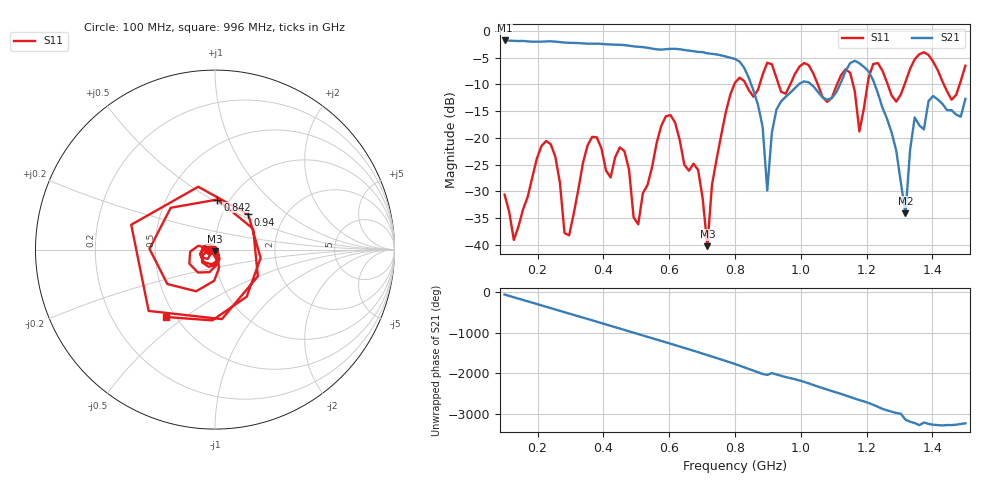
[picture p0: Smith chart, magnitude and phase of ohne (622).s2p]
! NanoVNA-App
! Date: 2025-09-25 14:25:38
! Start: 100MHz Stop: 1,5GHz Points: 101
! S-Parameter data: F S11 S21 S12 S22
# Hz S RI R 50
!  Frequency  S11_Real  S11_Imag  S21_Real  S21_Imag  S12_Real  S12_Imag  S22_Real  S22_Imag
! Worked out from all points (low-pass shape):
!   101 points, 100 MHz to 1.5 GHz, reference 50 ohm
!   highest |S21| = -1.79 dB at 100 MHz (marker M1); lowest = -34.1 dB at 1.318 GHz (marker M2)
!   |S21| within 3 dB of the highest: start of sweep to 771.9 MHz
!   lowest |S11| = -40.3 dB at 716 MHz (marker M3), VSWR 1.02, Z = 49.8 - j0.952 ohm
!   |S11| at or under -10 dB: start of sweep to 798 MHz; 833.1 MHz to 875.1 MHz (41.99 MHz wide, 4.92 % of centre); 1.051 GHz to 1.11 GHz (58.62 MHz wide, 5.42 % of centre) (the widest 3 of 7)
!   S12 and S22 are empty: the file has one direction only
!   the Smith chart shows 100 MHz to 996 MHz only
!   S11 on the Smith chart (normalised r, x): 100 MHz: 0.94, -0.01; 842 MHz: 0.88, +0.53; 940 MHz: 1.32, +0.56; 996 MHz: 0.45, -0.43
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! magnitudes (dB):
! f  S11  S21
! 100 MHz  -30.6  -1.8
! 128 MHz  -39.1  -1.9
! 226 MHz  -20.6  -2.0
! 296 MHz  -38.2  -2.2
! 338 MHz  -24.7  -2.3
! 464 MHz  -22.5  -2.7
! 506 MHz  -36.2  -3.0
! 576 MHz  -17.8  -3.5
! 688 MHz  -26.0  -3.9
! 716 MHz  -40.3  -4.2
! 800 MHz  -9.7  -5.3
! 842 MHz  -11.1  -8.8
! 898 MHz  -6.0  -29.9
! 940 MHz  -11.4  -13.2
! 996 MHz  -6.7  -9.9
! 1.038 GHz  -8.0  -10.4
! 1.178 GHz  -18.8  -6.1
! 1.22 GHz  -6.2  -9.3
! 1.276 GHz  -12.1  -19.0
! 1.318 GHz  -9.6  -34.1
! 1.346 GHz  -5.3  -16.2
! 1.5 GHz  -6.5  -12.7
